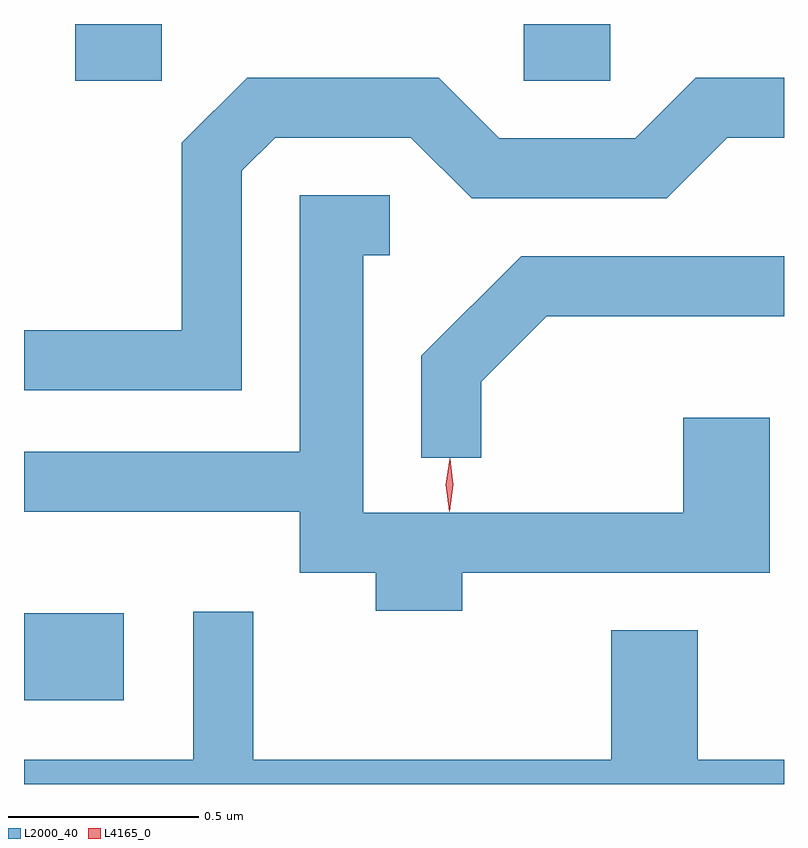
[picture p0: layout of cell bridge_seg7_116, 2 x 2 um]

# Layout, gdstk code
import gdstk
lib = gdstk.Library(unit=1e-6, precision=1e-09)
def R(c, l, rs):  # rectangles x0, y0, x1, y1
    for r in rs: c.add(gdstk.rectangle(r[:2], r[2:], *l))
def P(c, l, *ps):  # polygons
    for p in ps: c.add(gdstk.Polygon(p, *l))
L2000_40 = (2000, 40)
L4165_0 = (4165, 0)

bridge_seg7_116 = lib.new_cell('bridge_seg7_116')
R(bridge_seg7_116, L2000_40, [(1558.726,1774.681,1558.989,1774.909), (1558.861,1776.311,1559.089,1776.46), (1560.041,1776.311,1560.269,1776.46)])
P(bridge_seg7_116, L2000_40, [(1559.299,1776.074),(1559.387,1776.161),(1559.744,1776.161),(1559.904,1776.001),(1560.417,1776.001),(1560.577,1776.161),(1560.726,1776.161),(1560.726,1776.319),(1560.494,1776.319),(1560.334,1776.159),(1559.977,1776.159),(1559.817,1776.319),(1559.314,1776.319),(1559.141,1776.147),(1559.141,1775.654),(1558.726,1775.654),(1558.726,1775.496),(1559.299,1775.496)],
  [(1559.879,1775.016),(1560.689,1775.016),(1560.689,1775.424),(1560.461,1775.424),(1560.461,1775.174),(1559.619,1775.174),(1559.619,1775.851),(1559.688,1775.851),(1559.688,1776.009),(1559.451,1776.009),(1559.451,1775.334),(1558.726,1775.334),(1558.726,1775.176),(1559.451,1775.176),(1559.451,1775.016),(1559.651,1775.016),(1559.651,1774.916),(1559.879,1774.916)],
  [(1559.929,1775.519),(1560.102,1775.691),(1560.726,1775.691),(1560.726,1775.849),(1560.034,1775.849),(1559.771,1775.587),(1559.771,1775.318),(1559.929,1775.318)],
  [(1558.726,1774.46),(1560.726,1774.46),(1560.726,1774.524),(1560.499,1774.524),(1560.499,1774.864),(1560.271,1774.864),(1560.271,1774.524),(1559.329,1774.524),(1559.329,1774.913),(1559.171,1774.913),(1559.171,1774.524),(1558.726,1774.524)])
P(bridge_seg7_116, L4165_0, [(1559.845,1775.177),(1559.845,1775.178),(1559.836,1775.247),(1559.846,1775.316),(1559.847,1775.317),(1559.848,1775.316),(1559.856,1775.247),(1559.846,1775.178)])

lib.write_gds('bridge_seg7_116.gds')
